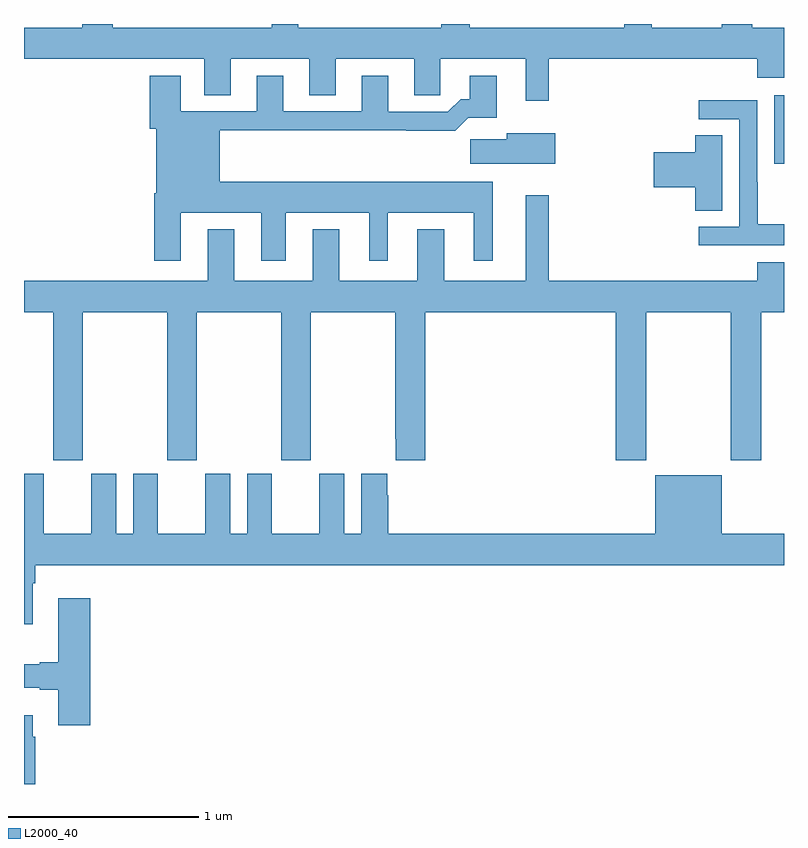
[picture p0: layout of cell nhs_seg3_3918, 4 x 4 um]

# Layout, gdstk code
import gdstk
lib = gdstk.Library(unit=1e-6, precision=1e-09)
def R(c, l, rs):  # rectangles x0, y0, x1, y1
    for r in rs: c.add(gdstk.rectangle(r[:2], r[2:], *l))
def P(c, l, *ps):  # polygons
    for p in ps: c.add(gdstk.Polygon(p, *l))
L2000_40 = (2000, 40)

nhs_seg3_3918 = lib.new_cell('nhs_seg3_3918')
R(nhs_seg3_3918, L2000_40, [(316.949,733.665,317,734.026)])
P(nhs_seg3_3918, L2000_40, [(315.763,734.216),(316.859,734.216),(316.859,734.117),(317,734.117),(317,734.38),(316.832,734.38),(316.832,734.4),(316.672,734.4),(316.672,734.38),(316.305,734.38),(316.305,734.4),(316.158,734.4),(316.158,734.38),(315.345,734.38),(315.345,734.4),(315.197,734.4),(315.197,734.38),(314.443,734.38),(314.443,734.4),(314.303,734.4),(314.303,734.38),(313.467,734.38),(313.467,734.4),(313.307,734.4),(313.307,734.38),(313,734.38),(313,734.216),(313.949,734.216),(313.949,734.026),(314.089,734.026),(314.089,734.216),(314.501,734.216),(314.501,734.026),(314.641,734.026),(314.641,734.216),(315.053,734.216),(315.053,734.026),(315.192,734.026),(315.192,734.216),(315.641,734.216),(315.641,733.995),(315.763,733.995)],
  [(313.825,733.406),(314.249,733.406),(314.249,733.155),(314.377,733.155),(314.377,733.406),(314.816,733.406),(314.816,733.155),(314.914,733.155),(314.914,733.406),(315.368,733.406),(315.368,733.155),(315.466,733.155),(315.466,733.57),(314.029,733.57),(314.029,733.84),(315.013,733.84),(315.013,733.838),(315.269,733.838),(315.338,733.907),(315.487,733.907),(315.487,734.128),(315.347,734.128),(315.347,734.005),(315.298,734.005),(315.231,733.938),(314.917,733.938),(314.917,734.128),(314.777,734.128),(314.777,733.941),(314.365,733.941),(314.365,734.128),(314.225,734.128),(314.225,733.941),(313.825,733.941),(313.825,734.128),(313.661,734.128),(313.661,733.848),(313.697,733.848),(313.697,733.51),(313.685,733.51),(313.685,733.155),(313.825,733.155)],
  [(317,733.345),(316.863,733.345),(316.863,733.568),(316.86,733.568),(316.86,733.998),(316.551,733.998),(316.551,733.899),(316.764,733.899),(316.764,733.332),(316.551,733.332),(316.551,733.236),(317,733.236)],
  [(315.796,733.825),(315.542,733.825),(315.542,733.793),(315.348,733.793),(315.348,733.664),(315.796,733.664)],
  [(316.675,733.814),(316.532,733.814),(316.532,733.724),(316.314,733.724),(316.314,733.541),(316.532,733.541),(316.532,733.417),(316.675,733.417)],
  [(313.308,732.884),(313.753,732.884),(313.753,732.105),(313.908,732.105),(313.908,732.884),(314.353,732.884),(314.353,732.105),(314.508,732.105),(314.508,732.884),(314.953,732.884),(314.953,732.217),(314.957,732.217),(314.957,732.105),(315.113,732.105),(315.113,732.884),(316.115,732.884),(316.115,732.105),(316.275,732.105),(316.275,732.884),(316.72,732.884),(316.72,732.105),(316.88,732.105),(316.88,732.884),(317,732.884),(317,733.147),(316.859,733.147),(316.859,733.048),(315.763,733.048),(315.763,733.498),(315.641,733.498),(315.641,733.048),(315.211,733.048),(315.211,733.321),(315.071,733.321),(315.071,733.048),(314.659,733.048),(314.659,733.321),(314.519,733.321),(314.519,733.048),(314.107,733.048),(314.107,733.321),(313.967,733.321),(313.967,733.048),(313,733.048),(313,732.884),(313.153,732.884),(313.153,732.105),(313.308,732.105)],
  [(313.045,731.456),(313.058,731.456),(313.058,731.552),(317,731.552),(317,731.716),(316.672,731.716),(316.672,732.025),(316.322,732.025),(316.322,731.716),(314.918,731.716),(314.918,731.921),(314.911,731.921),(314.911,732.034),(314.774,732.034),(314.774,731.716),(314.686,731.716),(314.686,732.034),(314.555,732.034),(314.555,731.716),(314.305,731.716),(314.305,732.034),(314.174,732.034),(314.174,731.716),(314.086,731.716),(314.086,732.034),(313.955,732.034),(313.955,731.716),(313.705,731.716),(313.705,732.034),(313.574,732.034),(313.574,731.716),(313.486,731.716),(313.486,732.034),(313.355,732.034),(313.355,731.716),(313.105,731.716),(313.105,732.034),(313,732.034),(313,731.241),(313.045,731.241)],
  [(313.349,731.377),(313.181,731.377),(313.181,731.042),(313.082,731.042),(313.082,731.029),(313,731.029),(313,730.907),(313.082,730.907),(313.082,730.895),(313.181,730.895),(313.181,730.71),(313.349,730.71)],
  [(313.058,730.649),(313.045,730.649),(313.045,730.762),(313,730.762),(313,730.4),(313.058,730.4)])

lib.write_gds('nhs_seg3_3918.gds')
